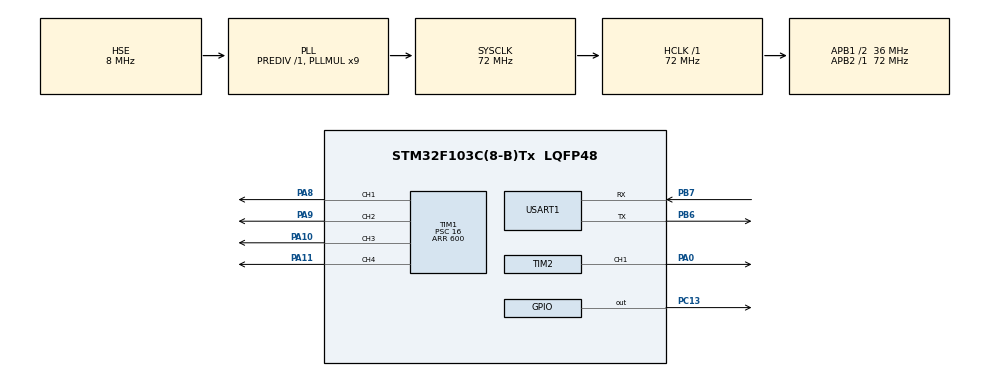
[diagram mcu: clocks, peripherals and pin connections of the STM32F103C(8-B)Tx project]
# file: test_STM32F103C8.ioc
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Mcu.Family=STM32F1
Mcu.Name=STM32F103C(8-B)Tx
Mcu.Package=LQFP48
NVIC.PriorityGroup=NVIC_PRIORITYGROUP_4
PA0-WKUP.Signal=S_TIM2_CH1_ETR
PA10.Signal=S_TIM1_CH3
PA11.Signal=S_TIM1_CH4
PA13.Mode=Serial_Wire
PA13.Signal=SYS_JTMS-SWDIO
PA14.Mode=Serial_Wire
PA14.Signal=SYS_JTCK-SWCLK
PA8.Signal=S_TIM1_CH1
PA9.Signal=S_TIM1_CH2
PB6.Mode=Asynchronous
PB6.Signal=USART1_TX
PB7.Mode=Asynchronous
PB7.Signal=USART1_RX
PC13-TAMPER-RTC.Signal=GPIO_Output
PD0-OSC_IN.Mode=HSE-External-Oscillator
PD0-OSC_IN.Signal=RCC_OSC_IN
PD1-OSC_OUT.Mode=HSE-External-Oscillator
PD1-OSC_OUT.Signal=RCC_OSC_OUT
ProjectManager.HeapSize=0x200
ProjectManager.StackSize=0x400
ProjectManager.TargetToolchain=STM32CubeIDE
RCC.AHBFreq_Value=72000000
RCC.APB1CLKDivider=RCC_HCLK_DIV2
RCC.APB1Freq_Value=36000000
RCC.APB1TimFreq_Value=72000000
RCC.APB2Freq_Value=72000000
RCC.APB2TimFreq_Value=72000000
RCC.HCLKFreq_Value=72000000
RCC.PLLMUL=RCC_PLL_MUL9
RCC.PLLSourceVirtual=RCC_PLLSOURCE_HSE
RCC.SYSCLKFreq_VALUE=72000000
RCC.SYSCLKSource=RCC_SYSCLKSOURCE_PLLCLK
RCC.USBFreq_Value=72000000
SH.S_TIM1_CH1.0=TIM1_CH1,PWM Generation1 CH1
SH.S_TIM1_CH2.0=TIM1_CH2,PWM Generation2 CH2
SH.S_TIM1_CH3.0=TIM1_CH3,PWM Generation3 CH3
SH.S_TIM1_CH4.0=TIM1_CH4,Output Compare4 CH4
SH.S_TIM2_CH1_ETR.0=TIM2_CH1,Output Compare1 CH1
TIM1.Channel-Output\ Compare4\ CH4=TIM_CHANNEL_4
TIM1.Channel-PWM\ Generation1\ CH1=TIM_CHANNEL_1
TIM1.Channel-PWM\ Generation2\ CH2=TIM_CHANNEL_2
TIM1.Channel-PWM\ Generation3\ CH3=TIM_CHANNEL_3
TIM1.Period=600
TIM1.Prescaler=16
TIM2.Channel-Output\ Compare1\ CH1=TIM_CHANNEL_1
USART1.VirtualMode=VM_ASYNC
board=custom

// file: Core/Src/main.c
/* USER CODE BEGIN Header */
#include<stdio.h>
#include<string.h>
#include<stdlib.h>
#include<time.h>
/* USER CODE END Header */
#include "main.h"

TIM_HandleTypeDef htim1;
TIM_HandleTypeDef htim2;

UART_HandleTypeDef huart1;

void SystemClock_Config(void);
static void MX_GPIO_Init(void);
static void MX_USART1_UART_Init(void);
static void MX_TIM1_Init(void);
static void MX_TIM2_Init(void);
/* USER CODE BEGIN PFP */
typedef struct lcd {
    uint32_t val;
    uint8_t stepUp;
    uint8_t stepDown;
    int8_t Direction;
    uint32_t DownTime;
    uint32_t UpTime;
    uint16_t DownDur;
    uint16_t UpDur;
    uint16_t maxValue;
} lcd;
uint32_t setValue(struct lcd * led);
/* USER CODE END PFP */

int main(void)
{

  /* MCU Configuration--------------------------------------------------------*/

  /* Reset of all peripherals, Initializes the Flash interface and the Systick. */
  HAL_Init();

  /* Configure the system clock */
  SystemClock_Config();

  /* Initialize all configured peripherals */
  MX_GPIO_Init();
  MX_USART1_UART_Init();
  MX_TIM1_Init();
  MX_TIM2_Init();
  /* USER CODE BEGIN 2 */
  HAL_TIM_PWM_Start(&htim1, TIM_CHANNEL_1);
  HAL_TIM_PWM_Start(&htim1, TIM_CHANNEL_2);
  HAL_TIM_PWM_Start(&htim1, TIM_CHANNEL_3);
  HAL_TIM_PWM_Start(&htim1, TIM_CHANNEL_4);
  HAL_TIM_PWM_Start(&htim2, TIM_CHANNEL_1);
  /* USER CODE END 2 */

  /* Infinite loop */
  /* USER CODE BEGIN WHILE */
  lcd lcd1;
  lcd1.maxValue = 600;
  lcd1.stepUp = 1;
  lcd1.stepDown = 1;
  lcd1.DownDur = 3000;
  lcd1.UpDur = 4000;

  lcd lcd2;
  lcd2.maxValue = 600;
  lcd2.stepUp = 1;
  lcd2.stepDown = 1;
  lcd2.DownDur = 7999;
  lcd2.UpDur = 4000;

  lcd lcd3;
  lcd3.maxValue = 600;
  lcd3.stepUp = 1;
  lcd3.stepDown = 1;
  lcd3.DownDur = 5000;
  lcd3.UpDur = 1000;

  lcd lcd4;
  lcd4.maxValue = 600;
  lcd4.stepUp = 1;
  lcd4.stepDown = 1;
  lcd4.DownDur = 0;
  lcd4.UpDur = 1000;

  lcd lcd5;
  lcd5.maxValue = 600;
  lcd5.stepUp = 1;
  lcd5.stepDown = 1;
  lcd5.DownDur = 3000;
  lcd5.UpDur = 1000;
    while (1)
    {
//        HAL_UART_Transmit(&huart1,(uint8_t *)"Test\r\n",sizeof("Test\r\n") - 1, 1000);
//        HAL_GPIO_WritePin(GPIOC,GPIO_PIN_13,GPIO_PIN_SET);
//        HAL_Delay(50);
//        HAL_GPIO_WritePin(GPIOC,GPIO_PIN_13,GPIO_PIN_RESET);
//        HAL_Delay(2000);
//                TIM1->CCR1 = setValue(&lcd1);
//                TIM1->CCR2 = setValue(&lcd2);
//                TIM1->CCR3 = setValue(&lcd3);
//                TIM1->CCR4 = setValue(&lcd4);
//                TIM2->CCR1 = setValue(&lcd5);
                __HAL_TIM_SET_COMPARE(&htim1, TIM_CHANNEL_1, setValue(&lcd1));
                __HAL_TIM_SET_COMPARE(&htim1, TIM_CHANNEL_2, setValue(&lcd1));
                __HAL_TIM_SET_COMPARE(&htim1, TIM_CHANNEL_3, setValue(&lcd1));

                HAL_Delay(20);

    /* USER CODE END WHILE */

    }
}

void SystemClock_Config(void)
{
  RCC_OscInitTypeDef RCC_OscInitStruct = {0};
  RCC_ClkInitTypeDef RCC_ClkInitStruct = {0};

  /** Initializes the RCC Oscillators according to the specified parameters
  * in the RCC_OscInitTypeDef structure.
  */
  RCC_OscInitStruct.OscillatorType = RCC_OSCILLATORTYPE_HSE;
  RCC_OscInitStruct.HSEState = RCC_HSE_ON;
  RCC_OscInitStruct.HSEPredivValue = RCC_HSE_PREDIV_DIV1;
  RCC_OscInitStruct.HSIState = RCC_HSI_ON;
  RCC_OscInitStruct.PLL.PLLState = RCC_PLL_ON;
  RCC_OscInitStruct.PLL.PLLSource = RCC_PLLSOURCE_HSE;
  RCC_OscInitStruct.PLL.PLLMUL = RCC_PLL_MUL9;
  if (HAL_RCC_OscConfig(&RCC_OscInitStruct) != HAL_OK)
  {
    Error_Handler();
  }
  /** Initializes the CPU, AHB and APB buses clocks
  */
  RCC_ClkInitStruct.ClockType = RCC_CLOCKTYPE_HCLK|RCC_CLOCKTYPE_SYSCLK
                              |RCC_CLOCKTYPE_PCLK1|RCC_CLOCKTYPE_PCLK2;
  RCC_ClkInitStruct.SYSCLKSource = RCC_SYSCLKSOURCE_PLLCLK;
  RCC_ClkInitStruct.AHBCLKDivider = RCC_SYSCLK_DIV1;
  RCC_ClkInitStruct.APB1CLKDivider = RCC_HCLK_DIV2;
  RCC_ClkInitStruct.APB2CLKDivider = RCC_HCLK_DIV1;

  if (HAL_RCC_ClockConfig(&RCC_ClkInitStruct, FLASH_LATENCY_2) != HAL_OK)
  {
    Error_Handler();
  }
}

static void MX_TIM1_Init(void)
{

  TIM_MasterConfigTypeDef sMasterConfig = {0};
  TIM_OC_InitTypeDef sConfigOC = {0};
  TIM_BreakDeadTimeConfigTypeDef sBreakDeadTimeConfig = {0};

  htim1.Instance = TIM1;
  htim1.Init.Prescaler = 16;
  htim1.Init.CounterMode = TIM_COUNTERMODE_UP;
  htim1.Init.Period = 600;
  htim1.Init.ClockDivision = TIM_CLOCKDIVISION_DIV1;
  htim1.Init.RepetitionCounter = 0;
  htim1.Init.AutoReloadPreload = TIM_AUTORELOAD_PRELOAD_DISABLE;
  if (HAL_TIM_PWM_Init(&htim1) != HAL_OK)
  {
    Error_Handler();
  }
  if (HAL_TIM_OC_Init(&htim1) != HAL_OK)
  {
    Error_Handler();
  }
  sMasterConfig.MasterOutputTrigger = TIM_TRGO_RESET;
  sMasterConfig.MasterSlaveMode = TIM_MASTERSLAVEMODE_DISABLE;
  if (HAL_TIMEx_MasterConfigSynchronization(&htim1, &sMasterConfig) != HAL_OK)
  {
    Error_Handler();
  }
  sConfigOC.OCMode = TIM_OCMODE_PWM1;
  sConfigOC.Pulse = 0;
  sConfigOC.OCPolarity = TIM_OCPOLARITY_HIGH;
  sConfigOC.OCNPolarity = TIM_OCNPOLARITY_HIGH;
  sConfigOC.OCFastMode = TIM_OCFAST_DISABLE;
  sConfigOC.OCIdleState = TIM_OCIDLESTATE_RESET;
  sConfigOC.OCNIdleState = TIM_OCNIDLESTATE_RESET;
  if (HAL_TIM_PWM_ConfigChannel(&htim1, &sConfigOC, TIM_CHANNEL_1) != HAL_OK)
  {
    Error_Handler();
  }
  if (HAL_TIM_PWM_ConfigChannel(&htim1, &sConfigOC, TIM_CHANNEL_2) != HAL_OK)
  {
    Error_Handler();
  }
  if (HAL_TIM_PWM_ConfigChannel(&htim1, &sConfigOC, TIM_CHANNEL_3) != HAL_OK)
  {
    Error_Handler();
  }
  sConfigOC.OCMode = TIM_OCMODE_TIMING;
  if (HAL_TIM_OC_ConfigChannel(&htim1, &sConfigOC, TIM_CHANNEL_4) != HAL_OK)
  {
    Error_Handler();
  }
  sBreakDeadTimeConfig.OffStateRunMode = TIM_OSSR_DISABLE;
  sBreakDeadTimeConfig.OffStateIDLEMode = TIM_OSSI_DISABLE;
  sBreakDeadTimeConfig.LockLevel = TIM_LOCKLEVEL_OFF;
  sBreakDeadTimeConfig.DeadTime = 0;
  sBreakDeadTimeConfig.BreakState = TIM_BREAK_DISABLE;
  sBreakDeadTimeConfig.BreakPolarity = TIM_BREAKPOLARITY_HIGH;
  sBreakDeadTimeConfig.AutomaticOutput = TIM_AUTOMATICOUTPUT_DISABLE;
  if (HAL_TIMEx_ConfigBreakDeadTime(&htim1, &sBreakDeadTimeConfig) != HAL_OK)
  {
    Error_Handler();
  }
  HAL_TIM_MspPostInit(&htim1);

}

static void MX_TIM2_Init(void)
{

  TIM_MasterConfigTypeDef sMasterConfig = {0};
  TIM_OC_InitTypeDef sConfigOC = {0};

  htim2.Instance = TIM2;
  htim2.Init.Prescaler = 0;
  htim2.Init.CounterMode = TIM_COUNTERMODE_UP;
  htim2.Init.Period = 65535;
  htim2.Init.ClockDivision = TIM_CLOCKDIVISION_DIV1;
  htim2.Init.AutoReloadPreload = TIM_AUTORELOAD_PRELOAD_DISABLE;
  if (HAL_TIM_OC_Init(&htim2) != HAL_OK)
  {
    Error_Handler();
  }
  sMasterConfig.MasterOutputTrigger = TIM_TRGO_RESET;
  sMasterConfig.MasterSlaveMode = TIM_MASTERSLAVEMODE_DISABLE;
  if (HAL_TIMEx_MasterConfigSynchronization(&htim2, &sMasterConfig) != HAL_OK)
  {
    Error_Handler();
  }
  sConfigOC.OCMode = TIM_OCMODE_TIMING;
  sConfigOC.Pulse = 0;
  sConfigOC.OCPolarity = TIM_OCPOLARITY_HIGH;
  sConfigOC.OCFastMode = TIM_OCFAST_DISABLE;
  if (HAL_TIM_OC_ConfigChannel(&htim2, &sConfigOC, TIM_CHANNEL_1) != HAL_OK)
  {
    Error_Handler();
  }
  HAL_TIM_MspPostInit(&htim2);

}

static void MX_USART1_UART_Init(void)
{

  huart1.Instance = USART1;
  huart1.Init.BaudRate = 115200;
  huart1.Init.WordLength = UART_WORDLENGTH_8B;
  huart1.Init.StopBits = UART_STOPBITS_1;
  huart1.Init.Parity = UART_PARITY_NONE;
  huart1.Init.Mode = UART_MODE_TX_RX;
  huart1.Init.HwFlowCtl = UART_HWCONTROL_NONE;
  huart1.Init.OverSampling = UART_OVERSAMPLING_16;
  if (HAL_UART_Init(&huart1) != HAL_OK)
  {
    Error_Handler();
  }

}

static void MX_GPIO_Init(void)
{
  GPIO_InitTypeDef GPIO_InitStruct = {0};

  /* GPIO Ports Clock Enable */
  __HAL_RCC_GPIOC_CLK_ENABLE();
  __HAL_RCC_GPIOD_CLK_ENABLE();
  __HAL_RCC_GPIOA_CLK_ENABLE();
  __HAL_RCC_GPIOB_CLK_ENABLE();

  /*Configure GPIO pin Output Level */
  HAL_GPIO_WritePin(GPIOC, GPIO_PIN_13, GPIO_PIN_RESET);

  /*Configure GPIO pin : PC13 */
  GPIO_InitStruct.Pin = GPIO_PIN_13;
  GPIO_InitStruct.Mode = GPIO_MODE_OUTPUT_PP;
  GPIO_InitStruct.Pull = GPIO_NOPULL;
  GPIO_InitStruct.Speed = GPIO_SPEED_FREQ_LOW;
  HAL_GPIO_Init(GPIOC, &GPIO_InitStruct);

}

/* USER CODE BEGIN 4 */
//void setPWMP(TIM_HandleTypeDef * tim, uint16_t channel, uint32_t value)
//{
//    TIM_OC_InitTypeDef sConfigOC;
//    sConfigOC.OCMode = TIM_OCMODE_PWM1;
//    sConfigOC.Pulse = value;
//    sConfigOC.OCPolarity = TIM_OCPOLARITY_HIGH;
//    sConfigOC.OCFastMode = TIM_OCFAST_DISABLE;
//    HAL_TIM_PWM_ConfigChannel(tim, &sConfigOC, channel);
//    HAL_TIM_PWM_Start(tim, channel);
//}
uint32_t setValue(struct lcd * pin)
{
    char buf[24];
    if(pin->Direction == 1)
    {
        if(pin->val >= pin->maxValue)
        {
            HAL_UART_Transmit(&huart1,(uint8_t*)"Down\r\n", sizeof("Down\r\n") - 1 ,1000);
            sprintf(buf,"Curr time: %10u\r\n", HAL_GetTick());
            HAL_UART_Transmit(&huart1,(uint8_t*)buf, sizeof(buf)-1 ,1000);

            pin->Direction = 0; //идем вниз
            pin->UpTime = HAL_GetTick();
            HAL_Delay(100);
        }
        else
        {
            if(HAL_GetTick() >= pin->DownTime + pin->DownDur)
            {
              pin->val += pin->stepUp;
            }
        }
    }
    if(pin->Direction == 0)
    {
        if(pin->val <= 0)
        {
            HAL_UART_Transmit(&huart1,(uint8_t*)"Up\r\n", sizeof("Up\r\n") - 1 ,1000);
            sprintf(buf,"Curr time: %10u\r\n", HAL_GetTick());
            HAL_UART_Transmit(&huart1,(uint8_t*)buf, sizeof(buf)-1 ,1000);
            pin->Direction = 1; //идем вверх
            pin->DownTime = HAL_GetTick();
            HAL_Delay(100);
        }
        else
        {
            if(HAL_GetTick() >= pin->UpTime  + pin->UpDur)
            {
              pin->val -= pin->stepDown;
            }
        }
    }
    return pin->val;
}
/* USER CODE END 4 */

void Error_Handler(void)
{
  __disable_irq();
  while (1)
  {
  }
}
